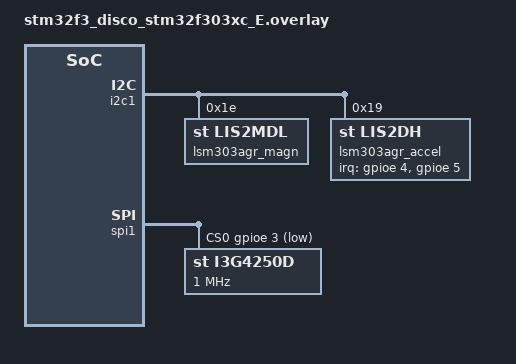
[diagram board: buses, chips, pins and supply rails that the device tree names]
/*
 * Copyright (c) 2021, Jonathan Hahn
 *
 * SPDX-License-Identifier: Apache-2.0
 */

/ {
	aliases {
		magn0 = &lsm303agr_magn;
		accel0 = &lsm303agr_accel;
	};
};

&i2c1 {
	/delete-node/ lsm303dlhc-magn@1e;
	/delete-node/ lsm303dlhc-accel@19;

	lsm303agr_magn: lsm303agr-magn@1e {
		compatible = "st,lis2mdl", "st,lsm303agr-magn";
		reg = <0x1e>;
	};

	lsm303agr_accel: lsm303agr-accel@19 {
		compatible = "st,lis2dh", "st,lsm303agr-accel";
		reg = <0x19>;
		irq-gpios = <&gpioe 4 GPIO_ACTIVE_HIGH>,
			    <&gpioe 5 GPIO_ACTIVE_HIGH>;
	};
};

&spi1 {
	cs-gpios = <&gpioe 3 GPIO_ACTIVE_LOW>;

	i3g4250d@0 {
		compatible = "st,i3g4250d";
		reg = <0>;
		spi-max-frequency = <1000000>;
	};
};
